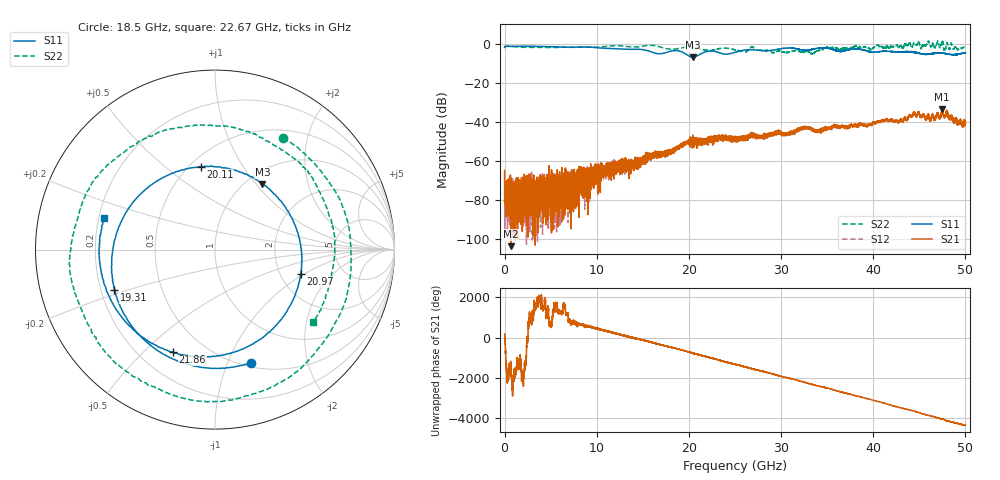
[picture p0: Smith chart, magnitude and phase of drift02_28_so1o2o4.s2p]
!Created with skrf (http://scikit-rf.org).
# Hz S RI R 50.0
!freq ReS11 ImS11 ReS21 ImS21 ReS12 ImS12 ReS22 ImS22
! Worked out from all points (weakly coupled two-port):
!   10001 points, 300 kHz to 50 GHz, reference 50 ohm
!   highest |S21| = -33.60 dB at 47.5 GHz (marker M1); lowest = -103.5 dB at 670.3 MHz (marker M2)
!   lowest |S11| = -6.9 dB at 20.44 GHz (marker M3), VSWR 2.64, Z = 59.2 + j54.1 ohm
!   |S11| at or under -10 dB: nowhere
!   |S22| runs from -5.4 to 1.6 dB; largest |S21 - S12| = 0.0033
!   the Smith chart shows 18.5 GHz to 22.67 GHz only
!   S11 on the Smith chart (normalised r, x): 18.5 GHz: 0.54, -1.21; 19.31 GHz: 0.26, -0.18; 20.11 GHz: 0.57, +0.67; 20.97 GHz: 2.58, -0.93; 21.86 GHz: 0.33, -0.62; 22.67 GHz: 0.22, +0.13
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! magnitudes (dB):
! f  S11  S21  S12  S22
! 300 kHz  -2.0  -64.8  -66.9  -1.3
! 250.3 MHz  -1.4  -75.8  -72.9  -1.4
! 670.3 MHz  -1.5  -103.5  -75.6  -1.4
! 5.745 GHz  -1.7  -74.3  -76.3  -2.0
! 8.335 GHz  -1.7  -66.2  -68.1  -1.9
! 16.67 GHz  -5.2  -56.8  -55.9  -1.5
! 18.5 GHz  -3.6  -55.0  -54.1  -2.8
! 19.31 GHz  -4.4  -52.4  -51.8  -2.1
! 20.11 GHz  -6.6  -50.4  -50.6  -1.6
! 20.44 GHz  -6.9  -53.0  -48.7  -1.8
! 20.97 GHz  -6.1  -49.0  -50.2  -2.3
! 21.86 GHz  -4.2  -48.9  -50.2  -3.5
! 22.67 GHz  -3.9  -49.0  -49.1  -3.4
! 25 GHz  -4.5  -49.7  -49.1  -3.3
! 26.11 GHz  -3.3  -49.1  -47.6  -4.3
! 26.9 GHz  -3.2  -46.8  -45.6  -1.7
! 33.34 GHz  -3.0  -43.3  -43.8  -5.2
! 34.89 GHz  -2.2  -43.8  -43.6  -2.3
! 41.67 GHz  -4.0  -39.6  -39.4  -2.1
! 44.4 GHz  -4.4  -35.5  -35.1  0.3
! 47.5 GHz  -4.9  -33.6  -33.9  1.4
! 50 GHz  -4.7  -40.8  -40.0  -1.5
